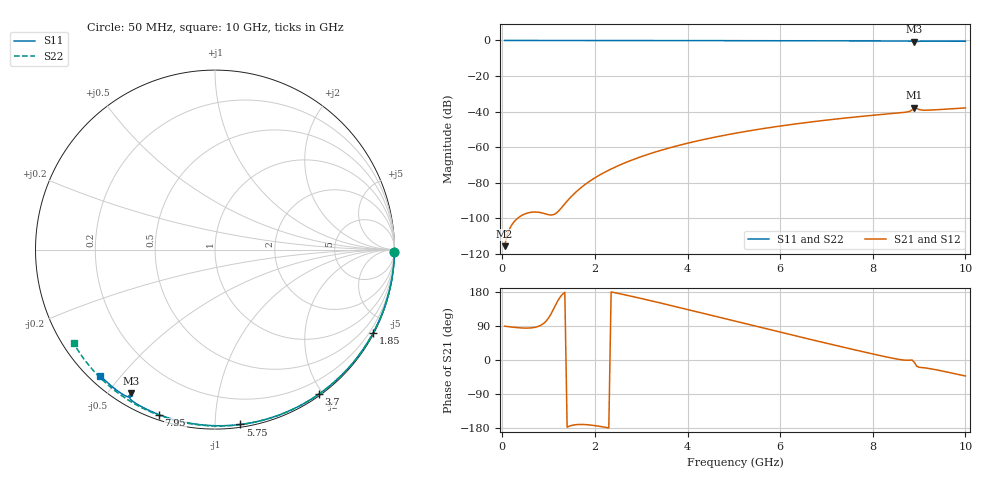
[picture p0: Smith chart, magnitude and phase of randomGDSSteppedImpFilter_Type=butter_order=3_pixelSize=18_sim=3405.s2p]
! freq	dB(S11)	phase(S11)	dB(S12)	phase(S12)
!  dB(S21)	phase(S21)	dB(S22)	phase(S22)
!S-par simulation data
#  GHz  S  DB  R 50
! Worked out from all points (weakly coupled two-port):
!   200 points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, 50 MHz to 10 GHz, reference 50 ohm
!   highest |S21| = -37.85 dB at 8.9 GHz (marker M1); lowest = -115.7 dB at 50 MHz (marker M2)
!   lowest |S11| = -0.7 dB at 8.9 GHz (marker M3), VSWR 25.76, Z = 2.58 - j28.7 ohm
!   |S11| at or under -10 dB: nowhere
!   |S22| runs from -0.5 to 0.0 dB; largest |S21 - S12| = 0
!   S11 on the Smith chart (normalised r, x): 50 MHz: open; 1.85 GHz: 0.04, -4.03; 3.7 GHz: 0.02, -1.95; 5.75 GHz: 0.02, -1.16; 7.95 GHz: 0.02, -0.72; 10 GHz: 0.03, -0.44
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0.05  -0.00 -0.8  -115.69 89.2  -115.69 89.2  -0.00 -0.9
0.9  -0.02 -13.7  -97.28 97.2  -97.28 97.2  -0.02 -15.2
1.75  -0.03 -26.4  -81.74 -170.2  -81.74 -170.2  -0.04 -29.4
1.85  -0.04 -27.8  -79.83 -171.0  -79.83 -171.0  -0.04 -31.0
2.15  -0.04 -32.3  -74.99 -176.0  -74.99 -176.0  -0.05 -35.9
2.5  -0.05 -37.4  -70.47 175.8  -70.47 175.8  -0.05 -41.5
2.9  -0.06 -43.1  -66.27 165.1  -66.27 165.1  -0.06 -47.9
3.4  -0.07 -50.2  -61.98 150.9  -61.98 150.9  -0.07 -55.7
3.7  -0.07 -54.4  -59.78 142.1  -59.78 142.1  -0.08 -60.4
4.35  -0.09 -63.3  -55.70 122.7  -55.70 122.7  -0.10 -70.2
5.05  -0.11 -72.7  -52.10 101.8  -52.10 101.8  -0.12 -80.4
5.75  -0.14 -81.8  -49.09 80.9  -49.09 80.9  -0.15 -90.4
6.7  -0.18 -93.7  -45.72 53.0  -45.72 53.0  -0.20 -103.5
7.95  -0.26 -108.8  -42.20 17.3  -42.20 17.3  -0.29 -120.0
8.35  -0.29 -113.6  -41.25 6.6  -41.25 6.6  -0.32 -125.2
8.75  -0.35 -118.8  -40.18 -0.6  -40.18 -0.6  -0.36 -130.4
8.8  -0.39 -119.6  -39.82 -0.2  -39.82 -0.2  -0.36 -131.1
8.9  -0.67 -120.3  -37.85 -6.6  -37.85 -6.6  -0.37 -132.3
8.95  -0.58 -119.4  -38.20 -16.6  -38.20 -16.6  -0.38 -133.0
9  -0.46 -120.0  -38.85 -19.1  -38.85 -19.1  -0.38 -133.6
9.15  -0.39 -122.1  -39.22 -21.2  -39.22 -21.2  -0.40 -135.6
10  -0.45 -132.2  -37.94 -42.2  -37.94 -42.2  -0.49 -146.5
